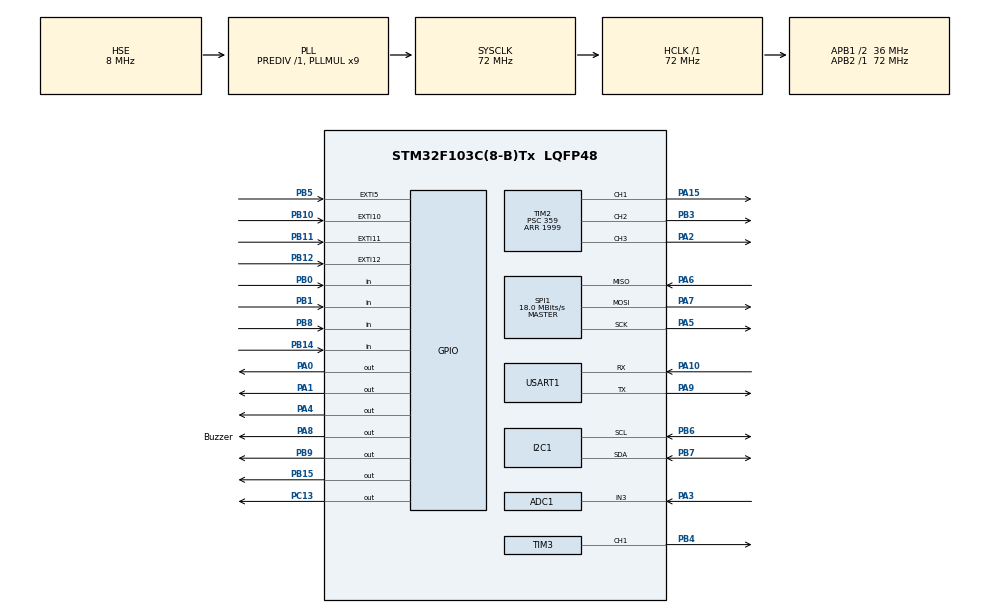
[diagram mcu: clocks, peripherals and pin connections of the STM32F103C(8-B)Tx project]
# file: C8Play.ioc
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ADC1.Channel-1\#ChannelRegularConversion=ADC_CHANNEL_3
ADC1.NbrOfConversionFlag=1
ADC1.Rank-1\#ChannelRegularConversion=1
ADC1.SamplingTime-1\#ChannelRegularConversion=ADC_SAMPLETIME_1CYCLE_5
ADC1.master=1
FREERTOS.Tasks01=defaultTask,24,128,StartDefaultTask,Default,NULL,Dynamic,NULL,NULL
Mcu.Family=STM32F1
Mcu.Name=STM32F103C(8-B)Tx
Mcu.Package=LQFP48
NVIC.EXTI15_10_IRQn=true\:5\:0\:false\:false\:true\:false\:true\:true\:true
NVIC.PriorityGroup=NVIC_PRIORITYGROUP_4
NVIC.TIM4_IRQn=true\:15\:0\:false\:false\:true\:false\:false\:true\:true
NVIC.TimeBase=TIM4_IRQn
NVIC.TimeBaseIP=TIM4
PA0-WKUP.Signal=GPIO_Output
PA1.GPIO_ModeDefaultOutputPP=GPIO_MODE_OUTPUT_OD
PA1.GPIO_PuPd=GPIO_PULLUP
PA1.Signal=GPIO_Output
PA10.Mode=Asynchronous
PA10.Signal=USART1_RX
PA13.Mode=Serial_Wire
PA13.Signal=SYS_JTMS-SWDIO
PA14.Mode=Serial_Wire
PA14.Signal=SYS_JTCK-SWCLK
PA15.Signal=S_TIM2_CH1_ETR
PA2.Signal=S_TIM2_CH3
PA3.Signal=ADCx_IN3
PA4.Signal=GPIO_Output
PA5.Mode=Full_Duplex_Master
PA5.Signal=SPI1_SCK
PA6.Mode=Full_Duplex_Master
PA6.Signal=SPI1_MISO
PA7.Mode=Full_Duplex_Master
PA7.Signal=SPI1_MOSI
PA8.GPIO_Label=Buzzer
PA8.GPIO_Speed=GPIO_SPEED_FREQ_LOW
PA8.Signal=GPIO_Output
PA9.Mode=Asynchronous
PA9.Signal=USART1_TX
PB0.GPIO_PuPd=GPIO_PULLUP
PB0.Signal=GPIO_Input
PB1.GPIO_PuPd=GPIO_PULLUP
PB1.Signal=GPIO_Input
PB10.GPIO_ModeDefaultEXTI=GPIO_MODE_IT_RISING_FALLING
PB10.GPIO_PuPd=GPIO_PULLUP
PB10.Signal=GPXTI10
PB11.GPIO_PuPd=GPIO_PULLUP
PB11.Signal=GPXTI11
PB12.GPIO_ModeDefaultEXTI=GPIO_MODE_IT_RISING
PB12.Signal=GPXTI12
PB14.Signal=GPIO_Input
PB15.Signal=GPIO_Output
PB3.Signal=S_TIM2_CH2
PB4.Signal=S_TIM3_CH1
PB5.GPIO_PuPd=GPIO_PULLUP
PB5.Signal=GPXTI5
PB6.Mode=I2C
PB6.Signal=I2C1_SCL
PB7.Mode=I2C
PB7.Signal=I2C1_SDA
PB8.Signal=GPIO_Input
PB9.Signal=GPIO_Output
PC13-TAMPER-RTC.Signal=GPIO_Output
PC14-OSC32_IN.Signal=RCC_OSC32_IN
PC15-OSC32_OUT.Signal=RCC_OSC32_OUT
PD0-OSC_IN.Mode=HSE-External-Oscillator
PD0-OSC_IN.Signal=RCC_OSC_IN
PD1-OSC_OUT.Mode=HSE-External-Oscillator
PD1-OSC_OUT.Signal=RCC_OSC_OUT
ProjectManager.HeapSize=0x200
ProjectManager.StackSize=0x400
ProjectManager.TargetToolchain=MDK-ARM V5.32
RCC.ADCPresc=RCC_ADCPCLK2_DIV6
RCC.AHBFreq_Value=72000000
RCC.APB1CLKDivider=RCC_HCLK_DIV2
RCC.APB1Freq_Value=36000000
RCC.APB1TimFreq_Value=72000000
RCC.APB2Freq_Value=72000000
RCC.APB2TimFreq_Value=72000000
RCC.HCLKFreq_Value=72000000
RCC.PLLMUL=RCC_PLL_MUL9
RCC.PLLSourceVirtual=RCC_PLLSOURCE_HSE
RCC.SYSCLKFreq_VALUE=72000000
RCC.SYSCLKSource=RCC_SYSCLKSOURCE_PLLCLK
SH.ADCx_IN3.0=ADC1_IN3,IN3
SH.S_TIM2_CH1_ETR.0=TIM2_CH1,PWM Generation1 CH1
SH.S_TIM2_CH2.0=TIM2_CH2,PWM Generation2 CH2
SH.S_TIM2_CH3.0=TIM2_CH3,PWM Generation3 CH3
SH.S_TIM3_CH1.0=TIM3_CH1,PWM Generation1 CH1
SPI1.BaudRatePrescaler=SPI_BAUDRATEPRESCALER_4
SPI1.CalculateBaudRate=18.0 MBits/s
SPI1.Direction=SPI_DIRECTION_2LINES
SPI1.Mode=SPI_MODE_MASTER
SPI1.VirtualType=VM_MASTER
TIM1.AutoReloadPreload=TIM_AUTORELOAD_PRELOAD_ENABLE
TIM1.Period=999
TIM1.Prescaler=71
TIM2.AutoReloadPreload=TIM_AUTORELOAD_PRELOAD_ENABLE
TIM2.Channel-PWM\ Generation1\ CH1=TIM_CHANNEL_1
TIM2.Channel-PWM\ Generation2\ CH2=TIM_CHANNEL_2
TIM2.Channel-PWM\ Generation3\ CH3=TIM_CHANNEL_3
TIM2.Period=1999
TIM2.Prescaler=359
TIM3.AutoReloadPreload=TIM_AUTORELOAD_PRELOAD_ENABLE
TIM3.Channel-PWM\ Generation1\ CH1=TIM_CHANNEL_1
TIM3.Period=999
TIM3.Prescaler=7
TIM3.Pulse-PWM\ Generation1\ CH1=900
USART1.VirtualMode=VM_ASYNC
VP_FREERTOS_VS_CMSIS_V2.Mode=CMSIS_V2
VP_SYS_VS_tim4.Mode=TIM4
VP_TIM1_VS_ClockSourceINT.Mode=Internal
VP_TIM2_VS_ClockSourceINT.Mode=Internal
board=custom

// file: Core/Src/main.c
/* USER CODE BEGIN Header */
/**
  ******************************************************************************
  * @file           : main.c
  * @brief          : Main program body
  ******************************************************************************
  * @attention
  *
  * Copyright (c) 2023 STMicroelectronics.
  * All rights reserved.
  *
  * This software is licensed under terms that can be found in the LICENSE file
  * in the root directory of this software component.
  * If no LICENSE file comes with this software, it is provided AS-IS.
  *
  ******************************************************************************
  */
/* USER CODE END Header */
#include "main.h"
#include "cmsis_os.h"
#include "adc.h"
#include "i2c.h"
#include "spi.h"
#include "tim.h"
#include "usart.h"
#include "gpio.h"

void SystemClock_Config(void);
void MX_FREERTOS_Init(void);

int main(void)
{

  /* MCU Configuration--------------------------------------------------------*/

  /* Reset of all peripherals, Initializes the Flash interface and the Systick. */
  HAL_Init();

  /* Configure the system clock */
  SystemClock_Config();

  /* Initialize all configured peripherals */
  MX_GPIO_Init();
  MX_I2C1_Init();
  MX_ADC1_Init();
  MX_SPI1_Init();
  MX_TIM1_Init();
  MX_TIM2_Init();
  MX_TIM3_Init();
  MX_USART1_UART_Init();
  /* USER CODE BEGIN 2 */
  MX_GPIO_PA8_Buzzer_Init();

  /* USER CODE END 2 */

  /* Init scheduler */
  osKernelInitialize();  /* Call init function for freertos objects (in freertos.c) */
  MX_FREERTOS_Init();

  /* Start scheduler */
  osKernelStart();
  /* We should never get here as control is now taken by the scheduler */
  /* Infinite loop */
  while (1)
  {

  }
}

void SystemClock_Config(void)
{
  RCC_OscInitTypeDef RCC_OscInitStruct = {0};
  RCC_ClkInitTypeDef RCC_ClkInitStruct = {0};
  RCC_PeriphCLKInitTypeDef PeriphClkInit = {0};

  /** Initializes the RCC Oscillators according to the specified parameters
  * in the RCC_OscInitTypeDef structure.
  */
  RCC_OscInitStruct.OscillatorType = RCC_OSCILLATORTYPE_HSE;
  RCC_OscInitStruct.HSEState = RCC_HSE_ON;
  RCC_OscInitStruct.HSEPredivValue = RCC_HSE_PREDIV_DIV1;
  RCC_OscInitStruct.HSIState = RCC_HSI_ON;
  RCC_OscInitStruct.PLL.PLLState = RCC_PLL_ON;
  RCC_OscInitStruct.PLL.PLLSource = RCC_PLLSOURCE_HSE;
  RCC_OscInitStruct.PLL.PLLMUL = RCC_PLL_MUL9;
  if (HAL_RCC_OscConfig(&RCC_OscInitStruct) != HAL_OK)
  {
    Error_Handler();
  }

  /** Initializes the CPU, AHB and APB buses clocks
  */
  RCC_ClkInitStruct.ClockType = RCC_CLOCKTYPE_HCLK|RCC_CLOCKTYPE_SYSCLK
                              |RCC_CLOCKTYPE_PCLK1|RCC_CLOCKTYPE_PCLK2;
  RCC_ClkInitStruct.SYSCLKSource = RCC_SYSCLKSOURCE_PLLCLK;
  RCC_ClkInitStruct.AHBCLKDivider = RCC_SYSCLK_DIV1;
  RCC_ClkInitStruct.APB1CLKDivider = RCC_HCLK_DIV2;
  RCC_ClkInitStruct.APB2CLKDivider = RCC_HCLK_DIV1;

  if (HAL_RCC_ClockConfig(&RCC_ClkInitStruct, FLASH_LATENCY_2) != HAL_OK)
  {
    Error_Handler();
  }
  PeriphClkInit.PeriphClockSelection = RCC_PERIPHCLK_ADC;
  PeriphClkInit.AdcClockSelection = RCC_ADCPCLK2_DIV6;
  if (HAL_RCCEx_PeriphCLKConfig(&PeriphClkInit) != HAL_OK)
  {
    Error_Handler();
  }
}

void HAL_TIM_PeriodElapsedCallback(TIM_HandleTypeDef *htim)
{
  if (htim->Instance == TIM4) {
    HAL_IncTick();
  }
}

void Error_Handler(void)
{
  __disable_irq();
  while (1)
  {
  }
}

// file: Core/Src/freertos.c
/* USER CODE BEGIN Header */
#include "driver_led.h"
#include "driver_lcd.h"
#include "driver_mpu6050.h"
#include "driver_timer.h"
#include "driver_ds18b20.h"
#include "driver_dht11.h"
#include "driver_active_buzzer.h"
#include "driver_color_led.h"
#include "driver_ir_receiver.h"
#include "driver_ir_sender.h"
#include "driver_light_sensor.h"
#include "driver_ir_obstacle.h"
#include "driver_ultrasonic_sr04.h"
#include "driver_spiflash_w25q64.h"
#include "driver_rotary_encoder.h"
#include "driver_motor.h"
#include "driver_key.h"
#include "driver_uart.h"
#include "screen.h"
#include "input_event.h"
#include "app.h"
#include "save.h"    /* 存档轮询：housekeeping 落盘最高分 */
#include "proto.h"   /* 串口协议层：帧编解码 + 发送接口 */
#include "env.h"     /* 环境数据：DHT11 温湿度 + 光敏亮度 */
#include "led_anim.h"/* 全彩 LED 状态动画 */
#include "sound.h"   /* 蜂鸣器音效 */

/* USER CODE END Header */

#include "FreeRTOS.h"
#include "task.h"
#include "main.h"
#include "cmsis_os.h"

/* USER CODE BEGIN Includes */
#include "i2c.h"   /* hi2c1 声明（I2C1：OLED + MPU6050 共用） */
#include "usart.h" /* huart1 声明 */
/* USER CODE END Includes */

/* USER CODE BEGIN Variables */
/* 正式任务架构
 *  inputTask        	AboveNormal  	任务内初始化输入外设(含 MPU6050)，随后 10ms 采样所有输入 -> 事件队列
 *  gameTask         	Normal      	33ms 帧驱动：消费事件 + 状态机 + 渲染（App_Init 内任务内初始化 OLED）
 *  housekeepingTask	Low         	100ms 节拍杂务（DHT11/LED/蜂鸣器/光敏/存档；各服务内部自行分频，如 DHT11 2s、全彩 LED 闪烁 500ms）
 *  （原 CubeMX defaultTask 已废弃，重新生成工程时注意删除） */
osThreadId_t inputTaskHandle;
const osThreadAttr_t inputTask_attributes = {
  .name = "inputTask",
  /* 栈 128*4=512B：实测峰值 328B、余量 184B。
   * 历史 512B 曾溢出（静默破坏内存 → 随机卡死/复位），当时代码路径与现版
   * 不同；现以高水位实测为准 + configCHECK_FOR_STACK_OVERFLOW=2 兜底，
   * 若串口出现 [FAULT] STACK OVERFLOW: inputTask 需回调增大 */
  .stack_size = 128 * 4,
  .priority = (osPriority_t) osPriorityAboveNormal,
};
osThreadId_t gameTaskHandle;
const osThreadAttr_t gameTask_attributes = {
  .name = "gameTask",
  /* 栈 128*4=512B：实测峰值 320B、余量 192B。
   * 深调用链 = 游戏 Tick → 满行消除重画 → Screen_* 局部缓冲，均已被测量覆盖 */
  .stack_size = 128 * 4,
  .priority = (osPriority_t) osPriorityNormal,
};
osThreadId_t housekeepingTaskHandle;
const osThreadAttr_t housekeepingTask_attributes = {
  .name = "housekeepingTask",
  /* 栈 128*4=512B：实测峰值 280B（破纪录存档深链）
   * Save_Poll → W25Q64_Erase/Write → HAL_SPI_TransmitReceive + 回读校验）、
   * 余量 232B；日常杂务峰值 176B。*/
  .stack_size = 128 * 4,
  .priority = (osPriority_t) osPriorityLow,
};
/* I2C1 总线互斥量：OLED 与 MPU6050 共用 I2C1 */
osMutexId_t g_i2cMutex;
/* SPI1 总线互斥量：W25Q64 独占 SPI1，但 gameTask 读存档与
 * housekeeping 写存档可能并发，互斥保护 + 优先级继承防反转 */
osMutexId_t g_spiMutex;
/* USART1 发送互斥量：Proto_Send 会被 protoTask（命令应答）
 * 与 gameTask（0x07 状态上报）并发调用，寄存器级轮询发送跨字节非原子，
 * 互斥保证两任务不会把各自帧的字节交错混发 */
osMutexId_t g_uartTxMutex;
/* 串口协议层任务与队列
 *  protoTask       Normal  USART1 中断逐字节入队 -> 帧解析 -> 命令分发/应答
 *  g_uartRxQueue   32字节队列：ISR(osMessageQueuePut)与任务解耦，字节到达不占任务时间，解析在任务内做 */
osThreadId_t protoTaskHandle;
const osThreadAttr_t protoTask_attributes = {
  .name = "protoTask",
  /* 栈 128*4=512B：实测峰值 224B、余量 288B。
   * 深调用链 = 帧解析 → App_HandleProtoFrame → Save_GetHi(SPI 读链) */
  .stack_size = 128 * 4,
  .priority = (osPriority_t) osPriorityNormal,
};
osMessageQueueId_t g_uartRxQueue;
static uint8_t s_uartRxByte;   /* HAL_UART_Receive_IT 接收缓冲（回调取字节入队） */
/* USER CODE END Variables */

void StartInputTask(void *argument);
void StartGameTask(void *argument);
void StartHousekeepingTask(void *argument);
void StartProtoTask(void *argument);

void MX_FREERTOS_Init(void);

void MX_FREERTOS_Init(void) {

  /* USER CODE BEGIN RTOS_MUTEX */
  /* add mutexes, ... */
	g_i2cMutex = osMutexNew(NULL);
	g_spiMutex = osMutexNew(NULL);
	g_uartTxMutex = osMutexNew(NULL);
  /* USER CODE END RTOS_MUTEX */

  /* USER CODE BEGIN RTOS_QUEUES */
  /* add queues, ... */
  g_uartRxQueue = osMessageQueueNew(32, 1, NULL);
  /* USER CODE END RTOS_QUEUES */

  /* Create the thread(s) */
  /* creation of inputTask */
  inputTaskHandle = osThreadNew(StartInputTask, NULL, &inputTask_attributes);

  /* creation of gameTask */
  gameTaskHandle = osThreadNew(StartGameTask, NULL, &gameTask_attributes);

  /* creation of housekeepingTask */
  housekeepingTaskHandle = osThreadNew(StartHousekeepingTask, NULL, &housekeepingTask_attributes);

  /* USER CODE BEGIN RTOS_THREADS */
  /* add threads, ... */
  protoTaskHandle = osThreadNew(StartProtoTask, NULL, &protoTask_attributes);
  /* USER CODE END RTOS_THREADS */

}

void StartInputTask(void *argument)
{
  /* USER CODE BEGIN StartInputTask */
  /*先初始化轮询外设（编码器/按键/红外），再初始化 MPU6050（内部osDelay让出CPU，I2C 持互斥锁，失败不阻塞）*/
  Input_Init();
  Input_InitMPU6050();

  for (;;)
  {
    Input_Scan();
    osDelay(10);
  }
  /* USER CODE END StartInputTask */
}

void StartGameTask(void *argument)
{
  /* USER CODE BEGIN StartGameTask */
  /* 应用层初始化，随后 33ms(30fps) 帧驱动 */
  App_Init();

  for (;;)
  {
    App_Process();
    osDelay(33);
  }
  /* USER CODE END StartGameTask */
}

void StartHousekeepingTask(void *argument)
{
  /* USER CODE BEGIN StartHousekeepingTask */
  for (;;)
  {
    /* 最高分存档落盘（有脏标志才执行 擦扇区→写→回读校验，
     * 擦写 ~100ms 的阻塞操作放低优先级任务，绝不进 33ms 游戏帧循环） */
    Save_Poll();
    /* 外设服务（100ms 节拍，各服务内部计数分频）：
     * -Env_Poll：光敏 ADC 采样+滤波+OLED 对比度；DHT11 内部 2s 节拍
     * -LedAnim_Poll：全彩 LED 状态闪烁节拍（500ms 半周期）
     * -Sound_Poll：蜂鸣器 beep 播放（100ms/拍） */
    Env_Poll();
    LedAnim_Poll();
    Sound_Poll();
    osDelay(100);
  }
  /* USER CODE END StartHousekeepingTask */
}

/* USER CODE BEGIN Header_StartProtoTask */

/**
  * @brief  Function implementing the protoTask thread。
  * @param  argument: Not used
  * @retval None
  */
/* USER CODE END Header_StartProtoTask */
void StartProtoTask(void *argument)
{
  /* USER CODE BEGIN StartProtoTask */
  uint8_t byte;
  ProtoFrame frame;

  Proto_Reset();
  HAL_UART_Receive_IT(&huart1, &s_uartRxByte, 1);   /* 启动接收中断 */

  for (;;)
  {
    if (osMessageQueueGet(g_uartRxQueue, &byte, NULL, osWaitForever) == osOK)
    {
      if (Proto_Feed(byte, &frame))
      {
        App_HandleProtoFrame(&frame);
      }
    }
  }
  /* USER CODE END StartProtoTask */
}

/* ----USART1 接收中断回调 ----
 * HAL_UART_Receive_IT 每收 1 字节触发：入队 + 重新启动接收。
 * 队列满（protoTask 未及时消费）时丢字节——协议有 CRC8 + 超时重传兜底，不阻塞 ISR */
void HAL_UART_RxCpltCallback(UART_HandleTypeDef *huart)
{
  if (huart->Instance == USART1)
  {
    osMessageQueuePut(g_uartRxQueue, &s_uartRxByte, 0, 0);
    HAL_UART_Receive_IT(&huart1, &s_uartRxByte, 1);
  }
}

/* ----协议帧发送（proto.h 声明，通道集成实现） ----
 * 寄存器级轮询发送：与 ISR 的 HAL_UART_Receive_IT 混用同一 huart 句柄时，
 * HAL_UART_Transmit 的 __HAL_LOCK 会与中断接收的锁管理互相踩踏——
 * 发送持锁时 ISR 完成接收会误释放锁，或 Receive_IT 启动返回 HAL_BUSY，
 * 表现为"命令有动作但应答帧丢失"。直接操作 SR/DR 绕过 HAL 锁，发送路径与中断接收路径互不干扰。
 * 发送整体持 g_uartTxMutex——protoTask（应答帧）与 gameTask
 * （0x07 状态上报）可能并发调用，寄存器直写虽单字节原子，但"等 TXE→写 DR"
 * 的序列跨字节交错会把两帧字节穿插，互斥保证整帧串行。 */
uint8_t Proto_Send(uint8_t cmd, const uint8_t *data, uint8_t len)
{
    uint8_t buf[PROTO_FRAME_MAX];
    uint8_t n = Proto_Pack(buf, cmd, data, len);
    uint8_t i;
    uint8_t ok = 1;

    if (osMutexAcquire(g_uartTxMutex, osWaitForever) != osOK)
    {
        return 0;                       /* 理论不发生（forever 等待），防御性处理 */
    }
    for (i = 0; i < n; i++)
    {
        uint32_t guard = 500000;        /* 超时保护：约 40ms @72MHz，防 TX 引脚故障死等 */
        while ((USART1->SR & USART_SR_TXE) == 0)
        {
            if (--guard == 0)
            {
                ok = 0;                 /* 发送总线异常 */
                break;
            }
        }
        if (!ok)
        {
            break;
        }
        USART1->DR = buf[i];
    }
    if (ok)
    {
        uint32_t guard = 500000;
        while ((USART1->SR & USART_SR_TC) == 0)  /* 等最后一字节移出移位寄存器（发送完成） */
        {
            if (--guard == 0)
            {
                ok = 0;
                break;
            }
        }
    }
    osMutexRelease(g_uartTxMutex);
    return ok;
}

/* ================= 任务内存统计（栈高水位测量） =================
 * 用法：PC 发 0x08 命令（AA 55 00 08 CRC 0D）→ 掌机打印各任务栈用量文本：
 *   [TASK] <name> stack=<分配字节> used=<峰值使用> free=<最小剩余字节>
 * uxTaskGetStackHighWaterMark 返回任务运行以来"最小剩余栈"（单位：字，×4=字节），
 * 即最危险时刻（最深调用链/最多局部变量）剩余的空闲栈——衡量栈余量的权威指标：
 * 峰值使用 = 分配 − free，是"历史最大值"：测量时机越晚（玩遍所有模式/触发过
 * 所有调用链）越接近真实上限，调整建议以此为准。
 * 附注：xPortGetFreeHeapSize = FreeRTOS 堆剩余（8KB 堆里同时装 4 个任务栈、
 * TCB、队列、互斥量——调栈时需保证堆余量仍充足）。 */

static void mem_uart_puts(const char *s)
{
    while (*s)
    {
        uint32_t guard = 200000u;
        while ((USART1->SR & USART_SR_TXE) == 0)
        {
            if (--guard == 0)
            {
                return;
            }
        }
        USART1->DR = (uint8_t)*s++;
    }
}

static void mem_uart_dec(uint32_t v)
{
    char buf[12];
    int i = 11;

    buf[11] = '\0';
    do
    {
        buf[--i] = (char)('0' + (v % 10u));
        v /= 10u;
    } while (v);
    mem_uart_puts(&buf[i]);
}

void Mem_DumpTasks(void)
{
    static const char *names[4] = { "inputTask", "gameTask",
                                    "housekeepingTask", "protoTask" };
    /* 与 task_attributes 的 stack_size 保持一致*/
    static const uint32_t alloc[4] = { 128u * 4u, 128u * 4u, 128u * 4u, 128u * 4u };
    osThreadId_t handles[4] = { inputTaskHandle, gameTaskHandle,
                                housekeepingTaskHandle, protoTaskHandle };
    uint32_t i;

    if (osMutexAcquire(g_uartTxMutex, osWaitForever) != osOK)
    {
        return;
    }
    mem_uart_puts("\r\n[TASK-MEM] free heap=");
    mem_uart_dec((uint32_t)xPortGetFreeHeapSize());
    mem_uart_puts("B\r\n");
    for (i = 0; i < 4u; i++)
    {
        uint32_t minFreeWords = (uint32_t)uxTaskGetStackHighWaterMark(handles[i]);
        uint32_t minFree = minFreeWords * 4u;
        uint32_t used = (alloc[i] > minFree) ? (alloc[i] - minFree) : 0u;

        mem_uart_puts("[TASK] ");
        mem_uart_puts(names[i]);
        mem_uart_puts(" stack=");
        mem_uart_dec(alloc[i]);
        mem_uart_puts("B used=");
        mem_uart_dec(used);
        mem_uart_puts("B free=");
        mem_uart_dec(minFree);
        mem_uart_puts("B\r\n");
    }
    osMutexRelease(g_uartTxMutex);
}

/* 栈溢出钩子（configCHECK_FOR_STACK_OVERFLOW=2 时由 FreeRTOS 在任务切换时调用）：
 * 任务栈被踩是最高危故障（静默破坏内存 → 随机卡死/复位），
 * 钩子内任务栈已损坏，只做最简寄存器级输出后死循环，不再碰任何栈/调度 */
void vApplicationStackOverflowHook(TaskHandle_t xTask, char *pcTaskName)
{
    (void)xTask;
    __disable_irq();
    mem_uart_puts("\r\n[FAULT] STACK OVERFLOW: ");
    if (pcTaskName != NULL)
    {
        mem_uart_puts(pcTaskName);
    }
    mem_uart_puts("\r\n[FAULT] HALT\r\n");
    for (;;)
    {
    }
}
